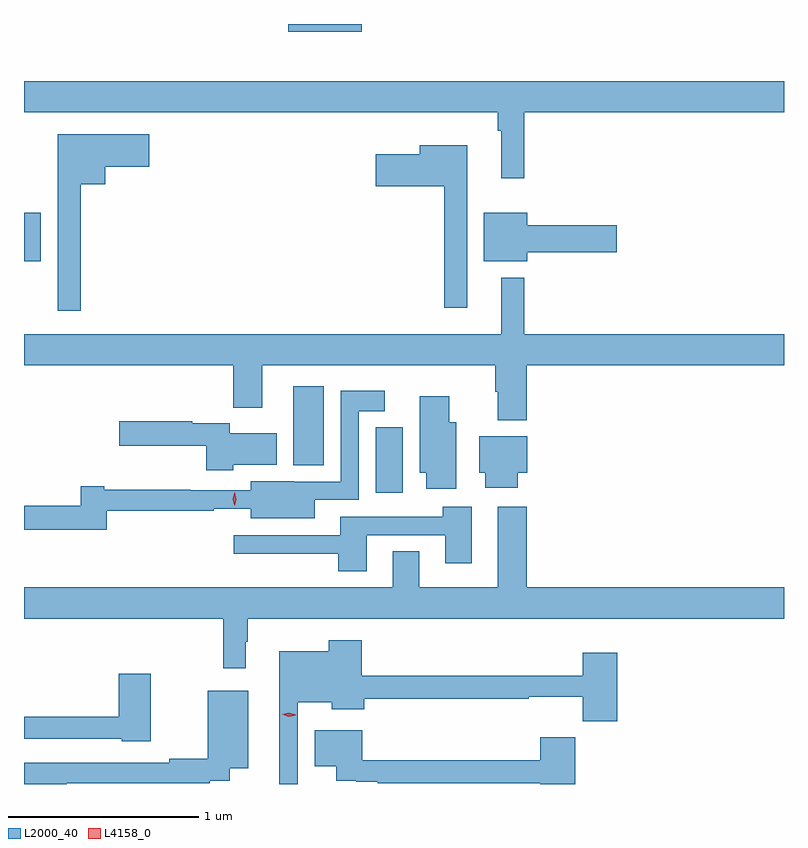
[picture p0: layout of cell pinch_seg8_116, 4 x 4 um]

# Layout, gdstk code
import gdstk
lib = gdstk.Library(unit=1e-6, precision=1e-09)
def R(c, l, rs):  # rectangles x0, y0, x1, y1
    for r in rs: c.add(gdstk.rectangle(r[:2], r[2:], *l))
def P(c, l, *ps):  # polygons
    for p in ps: c.add(gdstk.Polygon(p, *l))
L2000_40 = (2000, 40)
L4158_0 = (4158, 0)

pinch_seg8_116 = lib.new_cell('pinch_seg8_116')
R(pinch_seg8_116, L2000_40, [(1055.573,1093.185,1055.716,1093.531), (1055.138,1093.331,1055.299,1093.747), (1053.722,1094.405,1053.811,1094.659), (1055.112,1095.611,1055.5,1095.653)])
P(pinch_seg8_116, L2000_40, [(1056.355,1095.188),(1057.722,1095.188),(1057.722,1095.352),(1053.722,1095.352),(1053.722,1095.188),(1056.216,1095.188),(1056.216,1095.092),(1056.233,1095.092),(1056.233,1094.841),(1056.355,1094.841)],
  [(1054.021,1094.81),(1054.15,1094.81),(1054.15,1094.903),(1054.381,1094.903),(1054.381,1095.073),(1053.899,1095.073),(1053.899,1094.145),(1054.021,1094.145)],
  [(1056.055,1095.016),(1055.804,1095.016),(1055.804,1094.968),(1055.574,1094.968),(1055.574,1094.798),(1055.934,1094.798),(1055.934,1094.16),(1056.055,1094.16)],
  [(1056.37,1094.452),(1056.841,1094.452),(1056.841,1094.594),(1056.37,1094.594),(1056.37,1094.659),(1056.143,1094.659),(1056.143,1094.405),(1056.37,1094.405)],
  [(1056.368,1093.856),(1057.722,1093.856),(1057.722,1094.02),(1056.355,1094.02),(1056.355,1094.317),(1056.233,1094.317),(1056.233,1094.02),(1053.722,1094.02),(1053.722,1093.856),(1054.823,1093.856),(1054.823,1093.632),(1054.975,1093.632),(1054.975,1093.856),(1056.203,1093.856),(1056.203,1093.718),(1056.215,1093.718),(1056.215,1093.568),(1056.368,1093.568)],
  [(1054.157,1093.092),(1054.72,1093.092),(1054.72,1093.103),(1054.916,1093.103),(1054.916,1093.052),(1055.251,1093.052),(1055.251,1093.149),(1055.484,1093.149),(1055.484,1093.616),(1055.62,1093.616),(1055.62,1093.723),(1055.388,1093.723),(1055.388,1093.245),(1055.142,1093.245),(1055.142,1093.246),(1054.916,1093.246),(1054.916,1093.2),(1054.598,1093.2),(1054.598,1093.203),(1054.144,1093.203),(1054.144,1093.22),(1054.021,1093.22),(1054.021,1093.118),(1053.722,1093.118),(1053.722,1092.99),(1054.157,1092.99)],
  [(1055.998,1093.558),(1055.959,1093.558),(1055.959,1093.693),(1055.804,1093.693),(1055.804,1093.292),(1055.84,1093.292),(1055.84,1093.206),(1055.998,1093.206)],
  [(1054.824,1093.334),(1055.053,1093.334),(1055.053,1093.498),(1054.804,1093.498),(1054.804,1093.551),(1054.608,1093.551),(1054.608,1093.563),(1054.224,1093.563),(1054.224,1093.433),(1054.682,1093.433),(1054.682,1093.304),(1054.824,1093.304)],
  [(1056.32,1093.292),(1056.37,1093.292),(1056.37,1093.483),(1056.119,1093.483),(1056.119,1093.292),(1056.149,1093.292),(1056.149,1093.211),(1056.32,1093.211)],
  [(1054.888,1092.401),(1054.9,1092.401),(1054.9,1092.524),(1057.722,1092.524),(1057.722,1092.688),(1056.368,1092.688),(1056.368,1093.111),(1056.215,1093.111),(1056.215,1092.688),(1055.803,1092.688),(1055.803,1092.878),(1055.663,1092.878),(1055.663,1092.688),(1053.722,1092.688),(1053.722,1092.524),(1054.771,1092.524),(1054.771,1092.261),(1054.888,1092.261)],
  [(1055.527,1092.963),(1055.939,1092.963),(1055.939,1092.816),(1056.079,1092.816),(1056.079,1093.111),(1055.927,1093.111),(1055.927,1093.059),(1055.387,1093.059),(1055.387,1092.963),(1054.827,1092.963),(1054.827,1092.866),(1055.375,1092.866),(1055.375,1092.774),(1055.527,1092.774)],
  [(1055.163,1092.083),(1055.342,1092.083),(1055.342,1092.047),(1055.513,1092.047),(1055.513,1092.102),(1056.378,1092.102),(1056.378,1092.113),(1056.662,1092.113),(1056.662,1091.982),(1056.845,1091.982),(1056.845,1092.343),(1056.662,1092.343),(1056.662,1092.223),(1055.5,1092.223),(1055.5,1092.409),(1055.325,1092.409),(1055.325,1092.352),(1055.066,1092.352),(1055.066,1091.653),(1055.163,1091.653)],
  [(1054.39,1092.232),(1054.22,1092.232),(1054.22,1092.008),(1053.722,1092.008),(1053.722,1091.892),(1054.236,1091.892),(1054.236,1091.879),(1054.39,1091.879)],
  [(1053.946,1091.658),(1054.7,1091.658),(1054.7,1091.67),(1054.804,1091.67),(1054.804,1091.735),(1054.903,1091.735),(1054.903,1092.145),(1054.688,1092.145),(1054.688,1091.786),(1054.486,1091.786),(1054.486,1091.766),(1053.722,1091.766),(1053.722,1091.653),(1053.946,1091.653)],
  [(1056.623,1091.899),(1056.44,1091.899),(1056.44,1091.779),(1055.501,1091.779),(1055.501,1091.935),(1055.252,1091.935),(1055.252,1091.747),(1055.366,1091.747),(1055.366,1091.67),(1055.47,1091.67),(1055.47,1091.664),(1055.584,1091.664),(1055.584,1091.658),(1056.44,1091.658),(1056.44,1091.653),(1056.623,1091.653)])
P(pinch_seg8_116, L4158_0, [(1055.116,1092.008),(1055.082,1092.019),(1055.081,1092.02),(1055.082,1092.02),(1055.117,1092.028),(1055.152,1092.017),(1055.153,1092.017),(1055.152,1092.016)],
  [(1054.83,1093.117),(1054.83,1093.118),(1054.82,1093.153),(1054.83,1093.188),(1054.83,1093.189),(1054.83,1093.188),(1054.84,1093.153),(1054.83,1093.118)])

lib.write_gds('pinch_seg8_116.gds')
